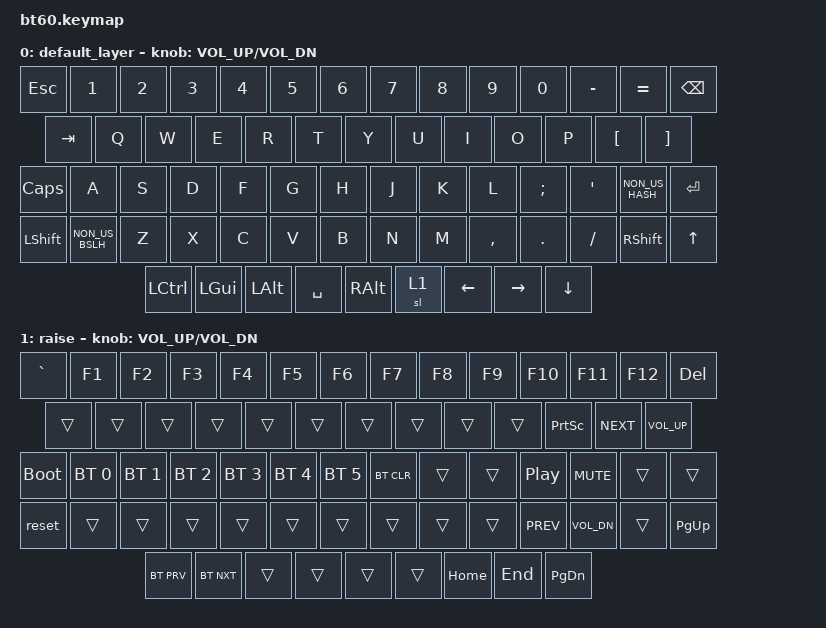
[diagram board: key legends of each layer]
#include <behaviors.dtsi>
#include <dt-bindings/zmk/keys.h>
#include <dt-bindings/zmk/bt.h>

&sl {    release-after-ms = <1000>;};

/ {
	keymap {
		compatible = "zmk,keymap";

		default_layer {
				// ------------------------------------------------------------------------------------------
				// | ESC |  1  |  2  |  3  |  4  |  5  |  6  |  7  |  8  |  9  |  0  |  -  |  =  |   BKSP   |
				// | TAB  |  Q  |  W  |  E  |  R  |  T  |  Y  |  U  |  I  |  O  |  P  |  [  |  ]  |         |
				// | CAPS  |  A  |  S  |  D  |  F  |  G  |  H  |  J  |  K  |  L  |  ;  |  '  |  #   | ENTER |
				// |  SHIFT | |  |  Z  |  X  |  C  |  V  |  B  |  N  |  M  |  ,  |  .  | /   |     SHIFT    |
				// |  CTL  |  WIN  |  ALT  |                     SPACE        |   ALT   |  1  | MENU | CTRL |
				// ------------------------------------------------------------------------------------------
			bindings = <
				&kp ESC &kp N1 &kp N2 &kp N3 &kp N4 &kp N5 &kp N6 &kp N7 &kp  N8   &kp  N9 &kp  N0  &kp MINUS &kp EQUAL &kp BSPC
				&kp TAB  &kp Q  &kp W  &kp E  &kp R  &kp T  &kp Y  &kp U  &kp  I    &kp  O  &kp  P   &kp LBKT &kp RBKT
				&kp CLCK  &kp A  &kp S  &kp D  &kp F  &kp G  &kp H  &kp J  &kp  K    &kp  L  &kp SEMI &kp SQT  &kp NON_US_HASH  &kp RET
				&kp LSHFT &kp NON_US_BSLH &kp Z  &kp X  &kp C  &kp V  &kp B  &kp N  &kp M  &kp COMMA &kp DOT &kp FSLH             &kp RSHFT &kp UP
				&kp LCTRL &kp LGUI &kp LALT            &kp SPACE                          &kp RALT  &sl 1 &kp LEFT &kp RIGHT &kp DOWN
			>;
			sensor-bindings = <&inc_dec_kp C_VOL_UP C_VOL_DN>;
		};
		raise {
			bindings = <
				&kp GRAVE &kp F1 &kp F2 &kp F3 &kp F4 &kp F5 &kp F6 &kp F7 &kp  F8   &kp  F9 &kp  F10  &kp F11 &kp F12   &kp DEL
				&trans &trans &trans &trans &trans &trans &trans &trans &trans &trans &kp PSCRN &kp C_NEXT &kp C_VOL_UP
				&bootloader    &bt BT_SEL 0 &bt BT_SEL 1 &bt BT_SEL 2 &bt BT_SEL 3 &bt BT_SEL 4 &bt BT_SEL 5 &bt BT_CLR &trans &trans &kp C_PP  &kp C_MUTE  &trans &trans
				&reset &trans &trans &trans &trans &trans &trans &trans &trans &trans &kp C_PREV &kp C_VOL_DN  &trans &kp PG_UP
				&bt BT_PRV &bt BT_NXT  &trans              &trans                            &trans &trans   &kp HOME   &kp END &kp PG_DN
			>;
			sensor-bindings = <&inc_dec_kp C_VOL_UP C_VOL_DN>;
		};
	};
};
